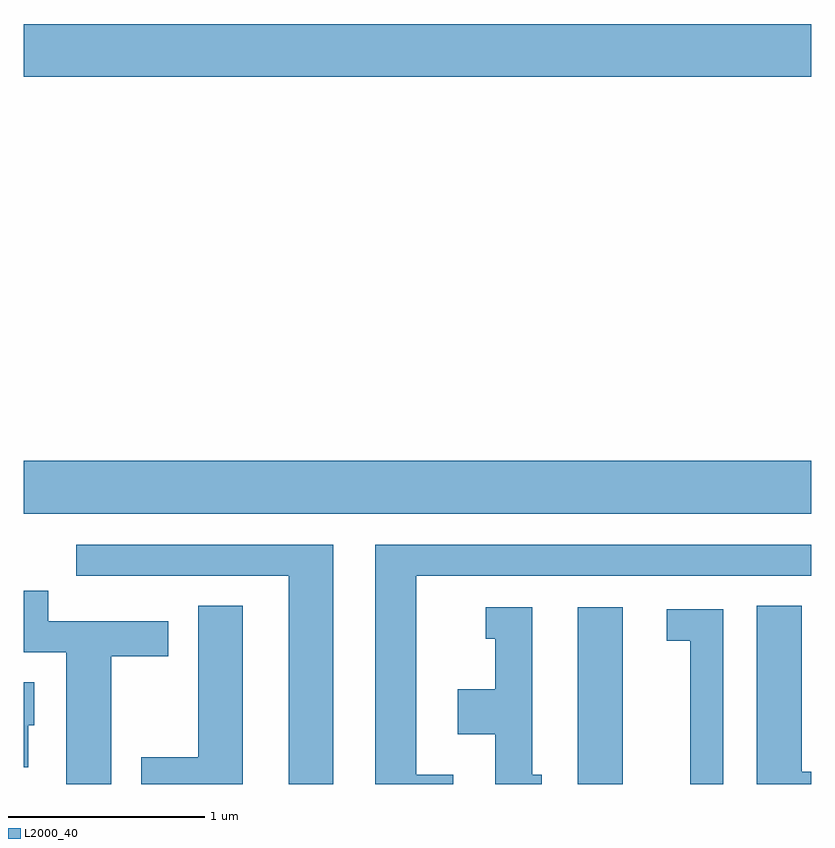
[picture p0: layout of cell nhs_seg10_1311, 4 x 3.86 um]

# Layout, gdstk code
import gdstk
lib = gdstk.Library(unit=1e-6, precision=1e-09)
def R(c, l, rs):  # rectangles x0, y0, x1, y1
    for r in rs: c.add(gdstk.rectangle(r[:2], r[2:], *l))
def P(c, l, *ps):  # polygons
    for p in ps: c.add(gdstk.Polygon(p, *l))
L2000_40 = (2000, 40)

nhs_seg10_1311 = lib.new_cell('nhs_seg10_1311')
R(nhs_seg10_1311, L2000_40, [(226.426,2132.522,226.654,2133.419), (223.611,2133.896,227.611,2134.164), (223.611,2136.116,227.611,2136.384)])
P(nhs_seg10_1311, L2000_40, [(225.793,2132.569),(225.604,2132.569),(225.604,2133.581),(227.611,2133.581),(227.611,2133.739),(225.396,2133.739),(225.396,2132.522),(225.793,2132.522)],
  [(225.184,2133.739),(223.878,2133.739),(223.878,2133.581),(224.956,2133.581),(224.956,2132.522),(225.184,2132.522)],
  [(224.054,2133.171),(224.344,2133.171),(224.344,2133.349),(223.734,2133.349),(223.734,2133.503),(223.611,2133.503),(223.611,2133.191),(223.826,2133.191),(223.826,2132.522),(224.054,2132.522)],
  [(224.724,2133.429),(224.496,2133.429),(224.496,2132.659),(224.206,2132.659),(224.206,2132.522),(224.724,2132.522)],
  [(227.611,2132.584),(227.564,2132.584),(227.564,2133.429),(227.336,2133.429),(227.336,2132.522),(227.611,2132.522)],
  [(226.243,2132.569),(226.194,2132.569),(226.194,2133.419),(225.958,2133.419),(225.958,2133.261),(226.006,2133.261),(226.006,2133.004),(225.816,2133.004),(225.816,2132.776),(226.006,2132.776),(226.006,2132.522),(226.243,2132.522)],
  [(227.164,2133.409),(226.878,2133.409),(226.878,2133.251),(226.996,2133.251),(226.996,2132.522),(227.164,2132.522)],
  [(223.634,2132.821),(223.664,2132.821),(223.664,2133.039),(223.611,2133.039),(223.611,2132.606),(223.634,2132.606)])

lib.write_gds('nhs_seg10_1311.gds')
